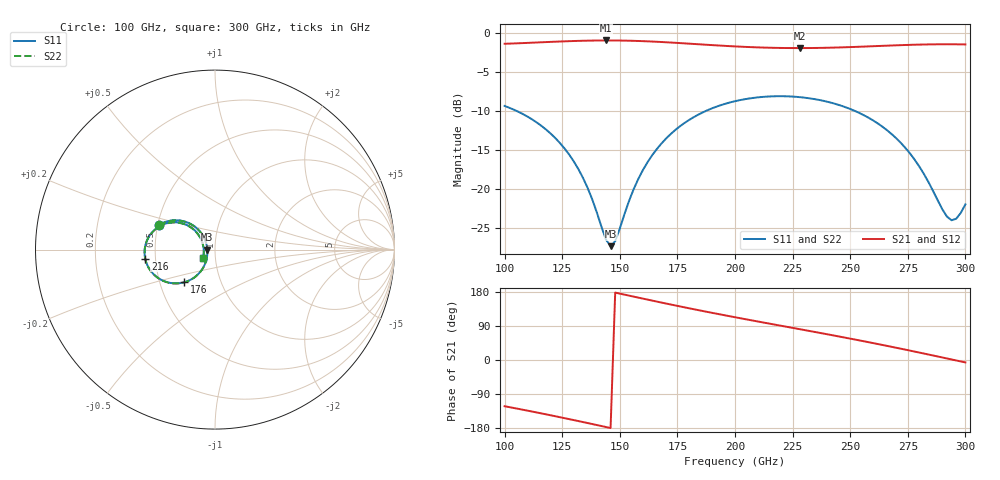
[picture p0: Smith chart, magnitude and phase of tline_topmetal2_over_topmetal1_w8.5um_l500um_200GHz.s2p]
#  GHZ S DB R 50
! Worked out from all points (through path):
!   101 points, 100 GHz to 300 GHz, reference 50 ohm
!   highest |S21| = -0.95 dB at 144 GHz (marker M1); lowest = -1.9 dB at 228 GHz (marker M2)
!   group delay of S21, straight-line fit = 3.36 ps
!   lowest |S11| = -27.4 dB at 146 GHz (marker M3), VSWR 1.09, Z = 45.9 - j0.112 ohm
!   |S11| at or under -10 dB: 105.1 GHz to 187.4 GHz (82.29 GHz wide, 56.3 % of centre); 252 GHz to end of sweep
!   |S22| runs from -27.4 to -8.1 dB; largest |S21 - S12| = 0
!   S11 on the Smith chart (normalised r, x): 100 GHz: 0.51, +0.16; 176 GHz: 0.67, -0.26; 216 GHz: 0.44, -0.05; 300 GHz: 0.87, -0.08
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100  -9.36 156.2  -1.37 -122.0  -1.37 -122.0  -9.36 156.2
120  -12.92 136.7  -1.13 -145.9  -1.13 -145.9  -12.92 136.8
128  -15.61 131.0  -1.04 -156.0  -1.04 -156.0  -15.61 131.0
134  -18.59 129.9  -0.98 -163.7  -0.98 -163.7  -18.60 130.0
138  -21.35 133.5  -0.96 -169.0  -0.96 -169.0  -21.36 133.5
144  -26.56 161.2  -0.95 -176.9  -0.95 -176.9  -26.58 161.3
146  -27.39 -178.4  -0.95 -179.5  -0.95 -179.5  -27.42 -178.2
148  -26.76 -157.4  -0.95 177.9  -0.95 177.9  -26.78 -157.2
158  -18.77 -123.4  -1.01 164.7  -1.01 164.7  -18.77 -123.2
168  -14.22 -126.7  -1.14 151.7  -1.14 151.7  -14.22 -126.6
176  -12.00 -133.4  -1.28 141.5  -1.28 141.5  -12.00 -133.3
188  -9.92 -145.0  -1.51 126.9  -1.51 126.9  -9.92 -144.9
200  -8.75 -157.0  -1.71 112.9  -1.71 112.9  -8.75 -156.8
216  -8.13 -172.7  -1.89 94.8  -1.89 94.8  -8.13 -172.5
228  -8.23 175.8  -1.93 81.4  -1.93 81.4  -8.23 176.0
234  -8.46 170.0  -1.91 74.7  -1.91 74.7  -8.46 170.3
252  -10.00 153.2  -1.78 54.1  -1.78 54.1  -10.00 153.5
268  -12.98 140.3  -1.59 34.8  -1.59 34.8  -12.97 140.6
280  -17.15 136.9  -1.48 19.6  -1.48 19.6  -17.13 137.2
292  -23.59 166.9  -1.44 4.0  -1.44 4.0  -23.53 167.1
296  -23.87 -166.7  -1.44 -1.2  -1.44 -1.2  -23.82 -166.7
300  -22.02 -146.0  -1.46 -6.4  -1.46 -6.4  -21.99 -146.1
